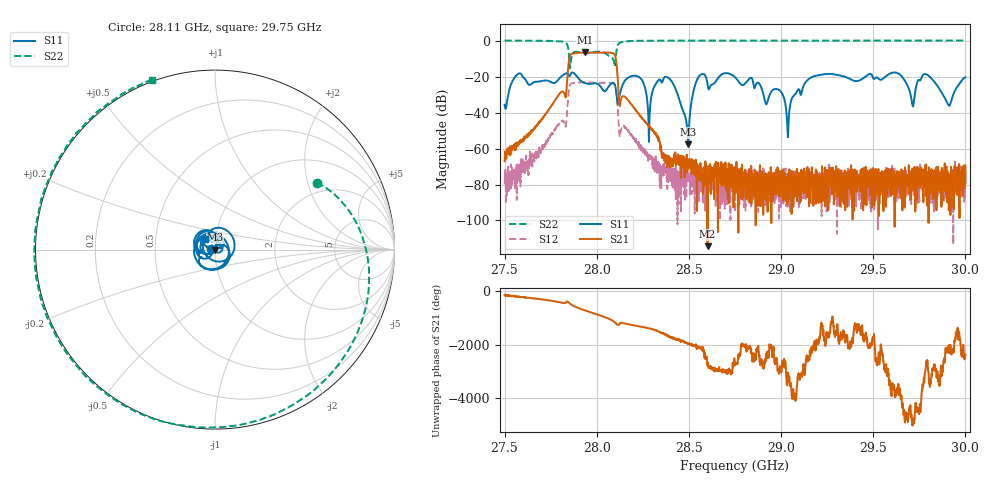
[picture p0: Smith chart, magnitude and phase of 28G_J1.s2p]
!Keysight Technologies,N5234A,MY55441357,A.10.47.05
!Date: Sunday, November 19, 2017 13:08:59
!Correction: S11(Full 2 Port(1,2))
!S21(Full 2 Port(1,2))
!S12(Full 2 Port(1,2))
!S22(Full 2 Port(1,2))
!S2P File: Measurements: S11, S21, S12, S22:
# Hz S  dB  R 50
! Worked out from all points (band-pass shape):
!   2501 points, 27.5 GHz to 30 GHz, reference 50 ohm
!   highest |S21| = -6.54 dB at 27.94 GHz (marker M1); lowest = -114.3 dB at 28.6 GHz (marker M2)
!   |S21| within 3 dB of the highest: 27.85 GHz to 28.1 GHz (250.6 MHz wide, 0.896 % of centre)
!   lowest |S11| = -57.6 dB at 28.5 GHz (marker M3), VSWR 1.00, Z = 50.1 - j0.109 ohm
!   |S11| at or under -10 dB: start of sweep to end of sweep
!   |S22| runs from -15.3 to 0.1 dB; largest |S21 - S12| = 0.53
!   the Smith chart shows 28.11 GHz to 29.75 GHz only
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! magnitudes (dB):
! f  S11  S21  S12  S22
! 27.5 GHz  -35.6  -67.0  -79.5  0.0
! 27.58 GHz  -18.3  -56.9  -75.4  0.0
! 27.92 GHz  -22.6  -6.6  -23.1  -6.7
! 27.94 GHz  -23.6  -6.5  -23.1  -7.0
! 28.09 GHz  -23.4  -7.1  -23.9  -10.6
! 28.13 GHz  -28.2  -33.9  -51.2  -1.0
! 28.23 GHz  -20.1  -40.7  -56.5  0.0
! 28.28 GHz  -51.4  -47.5  -63.3  0.0
! 28.33 GHz  -22.0  -55.3  -67.4  0.1
! 28.41 GHz  -23.0  -68.2  -80.5  0.1
! 28.5 GHz  -57.6  -68.5  -79.2  0.1
! 28.54 GHz  -21.8  -73.3  -72.5  0.1
! 28.6 GHz  -24.1  -114.3  -81.2  0.1
! 28.75 GHz  -20.3  -70.6  -75.1  0.1
! 28.99 GHz  -27.5  -76.1  -72.4  0.0
! 29.04 GHz  -53.7  -75.1  -92.3  0.1
! 29.17 GHz  -20.2  -70.4  -91.2  0.1
! 29.58 GHz  -18.7  -80.2  -79.6  0.1
! 29.71 GHz  -36.3  -76.5  -74.6  0.1
! 29.79 GHz  -18.9  -77.2  -87.5  0.1
! 29.91 GHz  -35.8  -94.4  -78.1  0.1
! 30 GHz  -20.4  -79.4  -78.3  0.1
